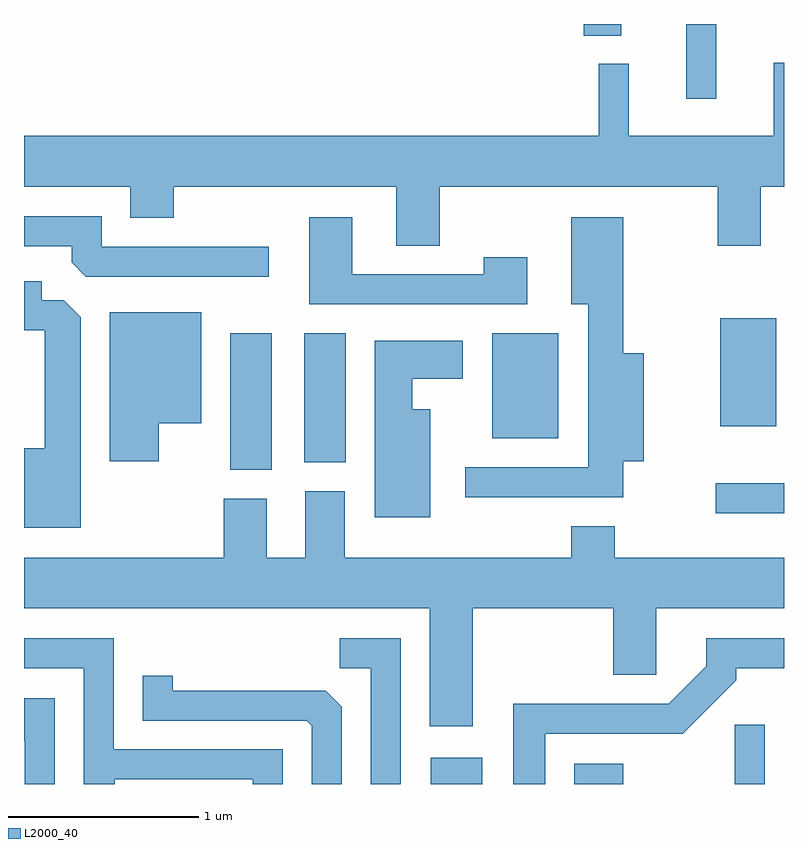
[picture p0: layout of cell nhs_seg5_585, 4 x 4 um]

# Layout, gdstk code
import gdstk
lib = gdstk.Library(unit=1e-6, precision=1e-09)
def R(c, l, rs):  # rectangles x0, y0, x1, y1
    for r in rs: c.add(gdstk.rectangle(r[:2], r[2:], *l))
def P(c, l, *ps):  # polygons
    for p in ps: c.add(gdstk.Polygon(p, *l))
L2000_40 = (2000, 40)

nhs_seg5_585 = lib.new_cell('nhs_seg5_585')
R(nhs_seg5_585, L2000_40, [(203.751,1478.072,204.024,1478.209), (204.506,1478.072,204.764,1478.179), (205.351,1478.072,205.509,1478.383), (205.253,1479.496,205.611,1479.654), (202.696,1479.726,202.914,1480.444), (203.086,1479.766,203.304,1480.444), (204.076,1479.891,204.424,1480.444), (205.276,1479.956,205.569,1480.524), (205.096,1481.678,205.254,1482.072), (204.556,1482.011,204.754,1482.072)])
P(nhs_seg5_585, L2000_40, [(203.799,1481.216),(205.261,1481.216),(205.261,1480.906),(205.489,1480.906),(205.489,1481.216),(205.611,1481.216),(205.611,1481.868),(205.556,1481.868),(205.556,1481.484),(204.794,1481.484),(204.794,1481.863),(204.636,1481.863),(204.636,1481.484),(201.611,1481.484),(201.611,1481.216),(202.171,1481.216),(202.171,1481.051),(202.399,1481.051),(202.399,1481.216),(203.571,1481.216),(203.571,1480.906),(203.799,1480.906)],
  [(202.898,1480.899),(202.019,1480.899),(202.019,1481.059),(201.611,1481.059),(201.611,1480.901),(201.861,1480.901),(201.861,1480.817),(201.937,1480.741),(202.898,1480.741)],
  [(204.764,1479.771),(204.874,1479.771),(204.874,1480.339),(204.764,1480.339),(204.764,1481.054),(204.491,1481.054),(204.491,1480.596),(204.581,1480.596),(204.581,1479.739),(203.933,1479.739),(203.933,1479.581),(204.764,1479.581)],
  [(204.259,1480.844),(204.031,1480.844),(204.031,1480.754),(203.339,1480.754),(203.339,1481.054),(203.111,1481.054),(203.111,1480.596),(204.259,1480.596)],
  [(201.909,1480.529),(201.819,1480.619),(201.704,1480.619),(201.704,1480.719),(201.611,1480.719),(201.611,1480.461),(201.721,1480.461),(201.721,1479.839),(201.611,1479.839),(201.611,1479.421),(201.909,1479.421)],
  [(202.319,1479.971),(202.544,1479.971),(202.544,1480.554),(202.061,1480.554),(202.061,1479.771),(202.319,1479.771)],
  [(203.749,1480.044),(203.654,1480.044),(203.654,1480.206),(203.919,1480.206),(203.919,1480.404),(203.456,1480.404),(203.456,1479.476),(203.749,1479.476)],
  [(203.974,1478.996),(204.711,1478.996),(204.711,1478.646),(204.939,1478.646),(204.939,1478.996),(205.611,1478.996),(205.611,1479.264),(204.719,1479.264),(204.719,1479.429),(204.491,1479.429),(204.491,1479.264),(203.299,1479.264),(203.299,1479.614),(203.091,1479.614),(203.091,1479.264),(202.889,1479.264),(202.889,1479.574),(202.661,1479.574),(202.661,1479.264),(201.611,1479.264),(201.611,1478.996),(203.746,1478.996),(203.746,1478.376),(203.974,1478.376)],
  [(203.594,1478.839),(203.273,1478.839),(203.273,1478.681),(203.436,1478.681),(203.436,1478.072),(203.594,1478.072)],
  [(202.089,1478.096),(202.816,1478.096),(202.816,1478.072),(202.974,1478.072),(202.974,1478.254),(202.084,1478.254),(202.084,1478.839),(201.611,1478.839),(201.611,1478.681),(201.926,1478.681),(201.926,1478.072),(202.089,1478.072)],
  [(204.354,1478.336),(205.077,1478.336),(205.359,1478.619),(205.359,1478.681),(205.611,1478.681),(205.611,1478.839),(205.201,1478.839),(205.201,1478.692),(205.004,1478.494),(204.186,1478.494),(204.186,1478.072),(204.354,1478.072)],
  [(203.284,1478.479),(203.199,1478.564),(202.394,1478.564),(202.394,1478.643),(202.236,1478.643),(202.236,1478.406),(203.099,1478.406),(203.126,1478.379),(203.126,1478.072),(203.284,1478.072)],
  [(201.774,1478.524),(201.611,1478.524),(201.611,1478.296),(201.616,1478.296),(201.616,1478.072),(201.774,1478.072)])

lib.write_gds('nhs_seg5_585.gds')
